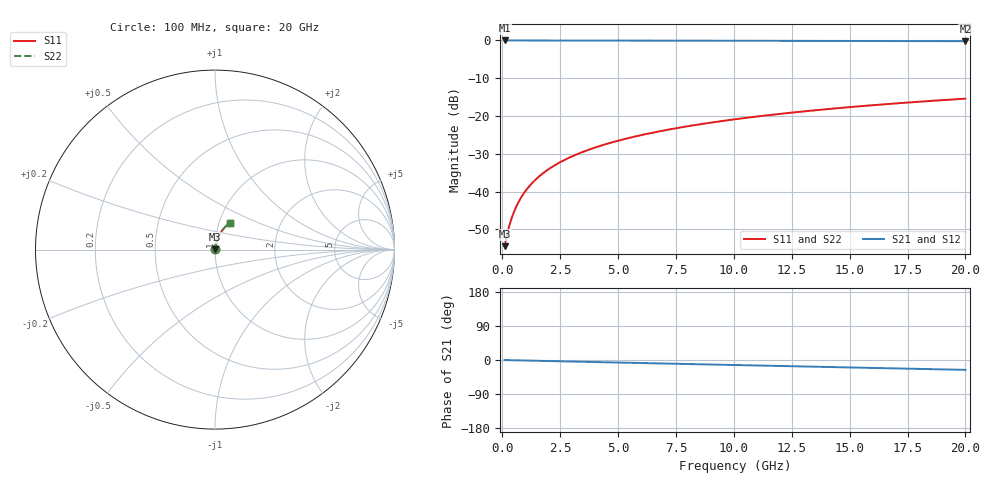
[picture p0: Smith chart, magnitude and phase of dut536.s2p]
! Touchstone file exported from HFSS 2026.1.0
!  File:  C:/ffzhzh/LocalFiles/Ansys_Project_Files/temp_train_BSMRDL_536_1783014844_4048.aedt
!  Generated:  01:55:21 AM Jul  3, 2026
!  Design:  BSMRDL
!  Project:  temp_train_BSMRDL_536_1783014844_4048
! Variables:
!  h_bsmrdl = 5.67um
!  h_ox = 20um
!  h_rdl = 5um
!  h_sub = 80um
!  h_tmrdl = 5um
!  h_tsv = 80um
!  h_via = 3um
!  l_bsmrdl = 418.69um
!  l_sub = 818.69um
!  l_tmrdl = 200um
!  m_sub = 200um
!  pitch = 33.67um
!  r_tsv = 6um
!  s_tmrdl = 10um
!  w_bsmrdl = 19.44um
!  w_sub = 500um
!  w_tmrdl = 12um
!  x_tsv_center1 = 206um
!  x_tsv_center2 = 644.13um
!  x_tsv_center3 = 856.13um
!  x_tsv_center4 = 1294.26um
!  x_tsv_center5 = 1506.26um
!  x_tsv_center6 = 1944.39um
# GHz S MA R 50.000000
! Terminal data exported
! Port[1] = BSM_RDL1_1_T1
! Port[2] = BSM_RDL1_1_T2
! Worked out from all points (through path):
!   200 points, 100 MHz to 20 GHz, reference 50 ohm
!   highest |S21| = -0.01 dB at 100 MHz (marker M1); lowest = -0.2 dB at 20 GHz (marker M2)
!   group delay of S21, straight-line fit = 3.6 ps
!   lowest |S11| = -54.5 dB at 100 MHz (marker M3), VSWR 1.00, Z = 50.2 + j0.115 ohm
!   |S11| at or under -10 dB: start of sweep to end of sweep
!   |S22| runs from -54.5 to -15.4 dB; largest |S21 - S12| = 5.3e-15
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0.1  0.001891 37.2  0.9985 -0.1  0.9985 -0.1  0.001891 37.2
! Gamma 0 0 0 0
! Port Impedance 50 0 50 0
0.2  0.002666 52.6  0.9984 -0.3  0.9984 -0.3  0.002665 52.6
0.3  0.003511 61.4  0.9983 -0.4  0.9983 -0.4  0.00351 61.4
0.4  0.004407 66.9  0.9982 -0.6  0.9982 -0.6  0.004407 66.9
0.5  0.005336 70.5  0.9981 -0.7  0.9981 -0.7  0.005336 70.5
0.6  0.006283 73.0  0.9981 -0.8  0.9981 -0.8  0.006283 73.0
0.8  0.008206 76.1  0.998 -1.1  0.998 -1.1  0.008206 76.1
1.1  0.01111 78.4  0.9978 -1.5  0.9978 -1.5  0.01111 78.4
1.3  0.01305 79.2  0.9977 -1.8  0.9977 -1.8  0.01305 79.2
1.5  0.01498 79.7  0.9976 -2.1  0.9976 -2.1  0.01498 79.7
1.8  0.01785 80.0  0.9974 -2.5  0.9974 -2.5  0.01785 80.0
2.1  0.0207 80.1  0.9972 -2.9  0.9972 -2.9  0.0207 80.1
2.7  0.02631 79.9  0.9967 -3.7  0.9967 -3.7  0.02631 79.9
3.5  0.03363 79.3  0.996 -4.7  0.996 -4.7  0.03363 79.3
4.2  0.03993 78.7  0.9953 -5.7  0.9953 -5.7  0.03993 78.7
5  0.04703 78.0  0.9946 -6.7  0.9946 -6.7  0.04703 78.0
6.8  0.06274 76.2  0.9928 -9.1  0.9928 -9.1  0.06274 76.2
8.3  0.07562 74.6  0.9913 -11.0  0.9913 -11.0  0.07562 74.6
10.1  0.09083 72.6  0.9894 -13.4  0.9894 -13.4  0.09083 72.6
13.4  0.1181 68.8  0.9856 -17.6  0.9856 -17.6  0.1181 68.8
16.7  0.1443 64.9  0.9814 -21.8  0.9814 -21.8  0.1443 64.9
20  0.1695 61.0  0.9767 -26.0  0.9767 -26.0  0.1695 61.0
